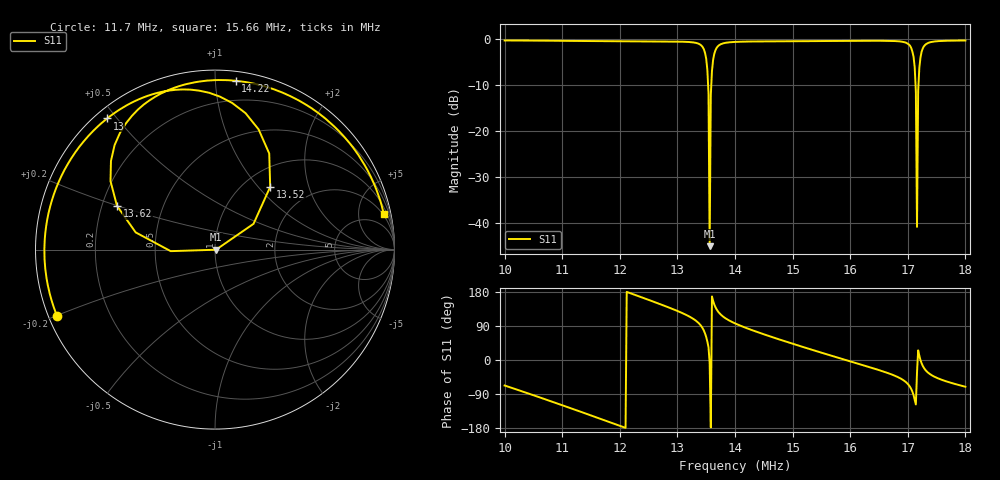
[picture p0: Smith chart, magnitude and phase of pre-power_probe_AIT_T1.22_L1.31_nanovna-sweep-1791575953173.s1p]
! NanoVNA Web complex sweep
! Processing: original sample grid, no browser smoothing
# Hz S RI R 50
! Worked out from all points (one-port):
!   401 points, 10 MHz to 18 MHz, reference 50 ohm
!   lowest |S11| = -45.0 dB at 13.56 MHz (marker M1), VSWR 1.01, Z = 50.6 - j0.0703 ohm
!   |S11| at or under -10 dB: 13.53314 MHz to 13.58817 MHz (55.03 kHz wide, 0.406 % of centre); 17.13482 MHz to 17.1851 MHz (50.29 kHz wide, 0.293 % of centre)
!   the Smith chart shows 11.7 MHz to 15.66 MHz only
!   S11 on the Smith chart (normalised r, x): 11.7 MHz: 0.02, -0.20; 13 MHz: 0.03, +0.47; 13.52 MHz: 1.30, +1.16; 13.62 MHz: 0.26, +0.20; 14.22 MHz: 0.06, +1.13; 15.66 MHz: 1.76, +9.19
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1e7  0.3767 -0.8982
1.1e7  -0.473 -0.8414
1.17e7  -0.8801 -0.3699
1.2e7  -0.9457 -0.1052
1.3e7  -0.6012 0.7305
1.328e7  -0.2888 0.8806
1.344e7  0.0956 0.8171
1.35e7  0.3021 0.5355
1.352e7  0.3075 0.3497
1.356e7  0.00555 -0.000695
1.36e7  -0.442 0.0959
1.362e7  -0.546 0.2438
1.374e7  -0.4622 0.7457
1.4e7  -0.1092 0.9327
1.422e7  0.1149 0.9406
1.5e7  0.6991 0.6511
1.566e7  0.9401 0.1997
1.6e7  0.9601 -0.06
1.668e7  0.7812 -0.565
1.7e7  0.403 -0.8
1.708e7  0.0833 -0.7314
1.71e7  -0.0304 -0.6461
1.712e7  -0.1243 -0.4814
1.72e7  0.477 0.1
1.722e7  0.6339 -0.00264
1.73e7  0.787 -0.3702
1.752e7  0.6386 -0.7128
1.8e7  0.3239 -0.9174
